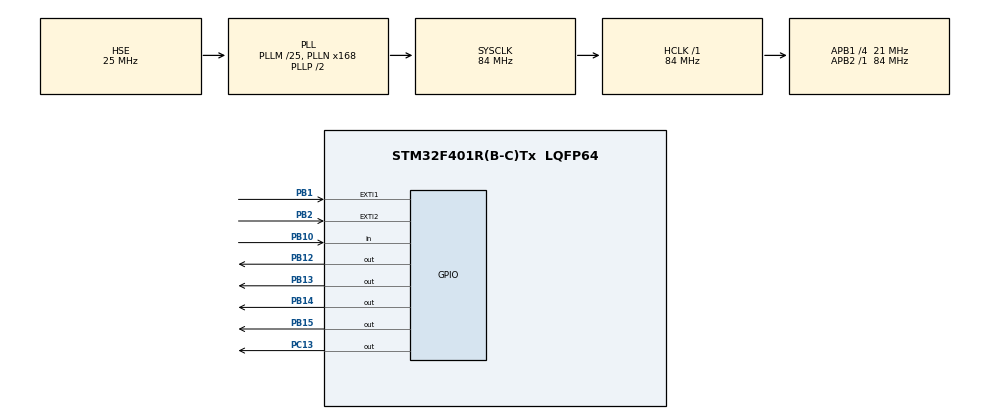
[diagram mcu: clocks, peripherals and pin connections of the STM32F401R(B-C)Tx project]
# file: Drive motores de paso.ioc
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Mcu.Family=STM32F4
Mcu.Name=STM32F401R(B-C)Tx
Mcu.Package=LQFP64
NVIC.EXTI1_IRQn=true\:1\:0\:true\:false\:true\:true\:true\:true
NVIC.EXTI2_IRQn=true\:0\:0\:true\:false\:true\:true\:true\:true
NVIC.PriorityGroup=NVIC_PRIORITYGROUP_4
NVIC.TIM2_IRQn=true\:1\:0\:true\:false\:true\:true\:true\:true
NVIC.TIM3_IRQn=true\:1\:0\:true\:false\:true\:true\:true\:true
NVIC.TIM4_IRQn=true\:1\:0\:true\:false\:true\:true\:true\:true
NVIC.TIM5_IRQn=true\:1\:0\:true\:false\:true\:true\:true\:true
PB1.GPIO_ModeDefaultEXTI=GPIO_MODE_IT_FALLING
PB1.Signal=GPXTI1
PB10.Signal=GPIO_Input
PB12.Signal=GPIO_Output
PB13.Signal=GPIO_Output
PB14.Signal=GPIO_Output
PB15.Signal=GPIO_Output
PB2.GPIO_ModeDefaultEXTI=GPIO_MODE_IT_FALLING
PB2.Signal=GPXTI2
PC13-ANTI_TAMP.Signal=GPIO_Output
PH0\ -\ OSC_IN.Mode=HSE-External-Oscillator
PH0\ -\ OSC_IN.Signal=RCC_OSC_IN
PH1\ -\ OSC_OUT.Mode=HSE-External-Oscillator
PH1\ -\ OSC_OUT.Signal=RCC_OSC_OUT
ProjectManager.HeapSize=0x200
ProjectManager.StackSize=0x400
ProjectManager.TargetToolchain=STM32CubeIDE
RCC.48MHZClocksFreq_Value=42000000
RCC.AHBFreq_Value=84000000
RCC.APB1CLKDivider=RCC_HCLK_DIV4
RCC.APB1Freq_Value=21000000
RCC.APB1TimFreq_Value=42000000
RCC.APB2Freq_Value=84000000
RCC.APB2TimFreq_Value=84000000
RCC.CortexFreq_Value=84000000
RCC.HCLKFreq_Value=84000000
RCC.HSE_VALUE=25000000
RCC.HSI_VALUE=16000000
RCC.LSE_VALUE=32768
RCC.PLLM=25
RCC.PLLN=168
RCC.PLLSourceVirtual=RCC_PLLSOURCE_HSE
RCC.SYSCLKFreq_VALUE=84000000
RCC.SYSCLKSource=RCC_SYSCLKSOURCE_PLLCLK
RCC.VCOOutputFreq_Value=168000000
TIM2.AutoReloadPreload=TIM_AUTORELOAD_PRELOAD_ENABLE
TIM2.Period=1
TIM2.Prescaler=1
TIM4.Prescaler=65530
TIM5.Prescaler=1
VP_TIM2_VS_ClockSourceINT.Mode=Internal
VP_TIM3_VS_ClockSourceINT.Mode=Internal
VP_TIM4_VS_ClockSourceINT.Mode=Internal
VP_TIM5_VS_ClockSourceINT.Mode=Internal
board=custom

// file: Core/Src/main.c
/* USER CODE BEGIN Header */
/**
 ******************************************************************************
 * @file           : main.c
 * @
 * brief          : Main program body
 ******************************************************************************
 * @attention
 *
 * Copyright (c) 2025 STMicroelectronics.
 * All rights reserved.
 *
 * This software is licensed under terms that can be found in the LICENSE file
 * in the root directory of this software component.
 * If no LICENSE file comes with this software, it is provided AS-IS.
 *
 ******************************************************************************
 */
/* USER CODE END Header */
#include "main.h"
#include "tim.h"
#include "gpio.h"

/* USER CODE BEGIN PD */

#define tiempo1 0.02
#define tiempoparodeemergencia 2

float tm2art,tm4art ,tm5art,tiempo=0.02,frecuencia;
uint32_t contador;
uint8_t seguro=0,estado_critico=0,reinicio_sis;

/* USER CODE END PD */

void SystemClock_Config(void);

int main(void)
{

	/* MCU Configuration--------------------------------------------------------*/

	/* Reset of all peripherals, Initializes the Flash interface and the Systick. */
	HAL_Init();

	/* Configure the system clock */
	SystemClock_Config();

	/* Initialize all configured peripherals */
	MX_GPIO_Init();
	MX_TIM2_Init();
	MX_TIM5_Init();
	MX_TIM3_Init();
	MX_TIM4_Init();
	/* USER CODE BEGIN 2 */

	tm2art=((tiempo*42000000)/(2))-1;
	htim2.Instance->ARR=(int)tm2art;

	tm5art=((tiempo1*42000000)/(2))-1;
	htim5.Instance->ARR=(int)tm5art;

	tm4art=((tiempoparodeemergencia*42000000)/(65536))-1;
	htim4.Instance->ARR=(int)tm4art;

	__HAL_TIM_CLEAR_FLAG(&htim2, TIM_FLAG_UPDATE);
	__HAL_TIM_SET_COUNTER(&htim2, 0);
	HAL_TIM_Base_Start_IT(&htim2);

	__HAL_TIM_CLEAR_FLAG(&htim5, TIM_FLAG_UPDATE);
	__HAL_TIM_SET_COUNTER(&htim5, 0);
	HAL_TIM_Base_Start_IT(&htim5);

	HAL_GPIO_WritePin(GPIOB, GPIO_PIN_15, 1);
	/* USER CODE END 2 */

	/* Infinite loop */
	while (1)
	{

	}
}

void SystemClock_Config(void)
{
	RCC_OscInitTypeDef RCC_OscInitStruct = {0};
	RCC_ClkInitTypeDef RCC_ClkInitStruct = {0};

	/** Configure the main internal regulator output voltage
	 */
	__HAL_RCC_PWR_CLK_ENABLE();
	__HAL_PWR_VOLTAGESCALING_CONFIG(PWR_REGULATOR_VOLTAGE_SCALE2);

	/** Initializes the RCC Oscillators according to the specified parameters
	 * in the RCC_OscInitTypeDef structure.
	 */
	RCC_OscInitStruct.OscillatorType = RCC_OSCILLATORTYPE_HSE;
	RCC_OscInitStruct.HSEState = RCC_HSE_ON;
	RCC_OscInitStruct.PLL.PLLState = RCC_PLL_ON;
	RCC_OscInitStruct.PLL.PLLSource = RCC_PLLSOURCE_HSE;
	RCC_OscInitStruct.PLL.PLLM = 25;
	RCC_OscInitStruct.PLL.PLLN = 168;
	RCC_OscInitStruct.PLL.PLLP = RCC_PLLP_DIV2;
	RCC_OscInitStruct.PLL.PLLQ = 4;
	if (HAL_RCC_OscConfig(&RCC_OscInitStruct) != HAL_OK)
	{
		Error_Handler();
	}

	/** Initializes the CPU, AHB and APB buses clocks
	 */
	RCC_ClkInitStruct.ClockType = RCC_CLOCKTYPE_HCLK|RCC_CLOCKTYPE_SYSCLK
			|RCC_CLOCKTYPE_PCLK1|RCC_CLOCKTYPE_PCLK2;
	RCC_ClkInitStruct.SYSCLKSource = RCC_SYSCLKSOURCE_PLLCLK;
	RCC_ClkInitStruct.AHBCLKDivider = RCC_SYSCLK_DIV1;
	RCC_ClkInitStruct.APB1CLKDivider = RCC_HCLK_DIV4;
	RCC_ClkInitStruct.APB2CLKDivider = RCC_HCLK_DIV1;

	if (HAL_RCC_ClockConfig(&RCC_ClkInitStruct, FLASH_LATENCY_2) != HAL_OK)
	{
		Error_Handler();
	}
}

/* USER CODE BEGIN 4 */
void HAL_TIM_PeriodElapsedCallback(TIM_HandleTypeDef *htim)
{
	if (htim->Instance == TIM2)
	{
		HAL_GPIO_TogglePin(GPIOB, GPIO_PIN_14);
		HAL_GPIO_TogglePin(GPIOC, GPIO_PIN_13);
	}
	if (htim->Instance == TIM5)
	{
		HAL_TIM_Base_Stop_IT(&htim5);
		seguro = 1;
	}
	if (htim->Instance == TIM4)
	{
		HAL_TIM_Base_Stop_IT(&htim4);
		reinicio_sis=1;
	}
}

void HAL_GPIO_EXTI_Callback(uint16_t GPIO_Pin)
{
	if (GPIO_Pin == GPIO_PIN_1 && seguro==1) {
		if (HAL_GPIO_ReadPin(GPIOB, GPIO_PIN_10)==1) {
			tiempo+=0.00005;
		} else {
			tiempo-=0.00005;
		}
		if(tiempo<=0.0001) tiempo=0.0001;
		if(tiempo>=0.5) tiempo=0.5;

		tm2art=((tiempo*42000000)/(2))-1;
		htim2.Instance->ARR=(int)tm2art;
		frecuencia= 1/(2*tiempo);

		__HAL_TIM_CLEAR_FLAG(&htim5, TIM_FLAG_UPDATE);
		__HAL_TIM_SET_COUNTER(&htim5, 0);
		HAL_TIM_Base_Start_IT(&htim5);
		seguro = 0;

	}
		if(GPIO_Pin == GPIO_PIN_2){
			if (estado_critico==0) {
				HAL_NVIC_DisableIRQ(EXTI1_IRQn);
				HAL_TIM_Base_Stop_IT(&htim2);
				HAL_TIM_Base_Stop_IT(&htim5);
				estado_critico=1;
				__HAL_TIM_CLEAR_FLAG(&htim4, TIM_FLAG_UPDATE);
				__HAL_TIM_SET_COUNTER(&htim4, 0);
				HAL_TIM_Base_Start_IT(&htim4);
			}
			else{
				if (reinicio_sis==1) {
					reinicio_sis=0;
					estado_critico=0;
					HAL_NVIC_EnableIRQ(EXTI1_IRQn);
					__HAL_TIM_CLEAR_FLAG(&htim2, TIM_FLAG_UPDATE);
					__HAL_TIM_SET_COUNTER(&htim2, 0);
					HAL_TIM_Base_Start_IT(&htim2);
				}
			}

		}
}

/* USER CODE END 4 */

void Error_Handler(void)
{
	__disable_irq();
	while (1)
	{
	}
}
